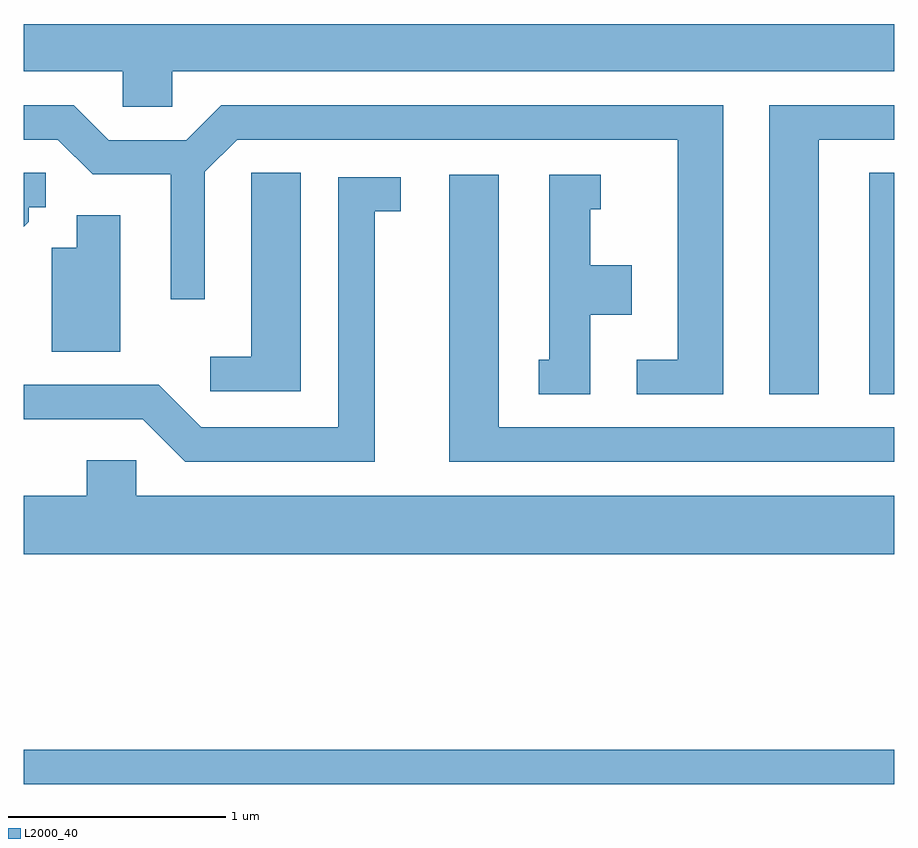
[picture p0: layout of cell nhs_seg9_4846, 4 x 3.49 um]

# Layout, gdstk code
import gdstk
lib = gdstk.Library(unit=1e-6, precision=1e-09)
def R(c, l, rs):  # rectangles x0, y0, x1, y1
    for r in rs: c.add(gdstk.rectangle(r[:2], r[2:], *l))
def P(c, l, *ps):  # polygons
    for p in ps: c.add(gdstk.Polygon(p, *l))
L2000_40 = (2000, 40)

nhs_seg9_4846 = lib.new_cell('nhs_seg9_4846')
R(nhs_seg9_4846, L2000_40, [(327.611,2032.941,331.611,2033.099), (331.496,2034.731,331.611,2035.749)])
P(nhs_seg9_4846, L2000_40, [(328.294,2036.216),(331.611,2036.216),(331.611,2036.432),(327.611,2036.432),(327.611,2036.216),(328.066,2036.216),(328.066,2036.051),(328.294,2036.051)],
  [(330.824,2036.059),(328.519,2036.059),(328.359,2035.899),(328.002,2035.899),(327.842,2036.059),(327.611,2036.059),(327.611,2035.901),(327.769,2035.901),(327.929,2035.741),(328.286,2035.741),(328.286,2035.168),(328.444,2035.168),(328.444,2035.754),(328.592,2035.901),(330.616,2035.901),(330.616,2034.889),(330.428,2034.889),(330.428,2034.731),(330.824,2034.731)],
  [(331.264,2035.901),(331.611,2035.901),(331.611,2036.059),(331.036,2036.059),(331.036,2034.731),(331.264,2034.731)],
  [(327.634,2035.524),(327.634,2035.591),(327.713,2035.591),(327.713,2035.749),(327.611,2035.749),(327.611,2035.501)],
  [(328.884,2035.749),(328.656,2035.749),(328.656,2034.904),(328.468,2034.904),(328.468,2034.746),(328.884,2034.746)],
  [(330.214,2035.096),(330.404,2035.096),(330.404,2035.324),(330.214,2035.324),(330.214,2035.581),(330.263,2035.581),(330.263,2035.739),(330.026,2035.739),(330.026,2034.889),(329.978,2034.889),(329.978,2034.731),(330.214,2034.731)],
  [(331.611,2034.579),(329.794,2034.579),(329.794,2035.739),(329.566,2035.739),(329.566,2034.421),(331.611,2034.421)],
  [(329.224,2035.571),(329.343,2035.571),(329.343,2035.729),(329.056,2035.729),(329.056,2034.579),(328.427,2034.579),(328.232,2034.774),(327.611,2034.774),(327.611,2034.616),(328.159,2034.616),(328.354,2034.421),(329.224,2034.421)],
  [(328.054,2035.554),(327.856,2035.554),(327.856,2035.404),(327.741,2035.404),(327.741,2034.926),(328.054,2034.926)],
  [(331.611,2034.264),(328.129,2034.264),(328.129,2034.429),(327.901,2034.429),(327.901,2034.264),(327.611,2034.264),(327.611,2033.996),(331.611,2033.996)])

lib.write_gds('nhs_seg9_4846.gds')
